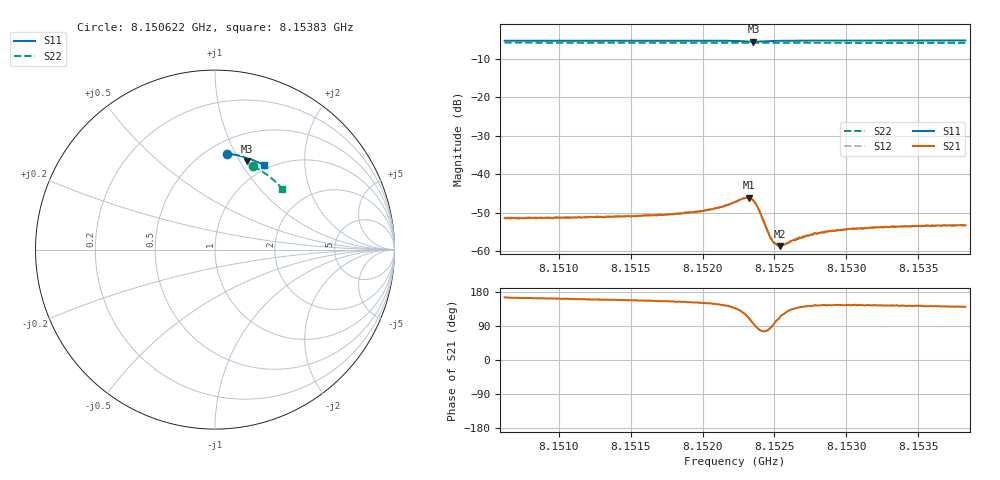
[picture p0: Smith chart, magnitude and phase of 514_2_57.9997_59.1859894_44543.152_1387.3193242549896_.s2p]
#  HZ  S  RI  R  50.00
! Rohde & Schwarz Vector Network Analyzer
! Rohde-Schwarz,ZNB20-2Port,1311601062101988,3.16
! Created: UTC 3/21/2024, 1:13:19 AM
! freq[Hz]  re:S11  im:S11  re:S21  im:S21  re:S12  im:S12  re:S22  im:S22
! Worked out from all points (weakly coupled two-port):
!   401 points, 8.150622 GHz to 8.15383 GHz, reference 50 ohm
!   highest |S21| = -46.15 dB at 8.152322 GHz (marker M1); lowest = -58.7 dB at 8.152539 GHz (marker M2)
!   lowest |S11| = -5.6 dB at 8.152354 GHz (marker M3), VSWR 3.20, Z = 39.4 + j53.5 ohm
!   |S11| at or under -10 dB: nowhere
!   |S22| runs from -5.9 to -5.9 dB; largest |S21 - S12| = 0.00012
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8.1506223e9  0.0655 0.535  -0.0026 0.000679  -0.0026 0.000719  0.2127 0.4631
8.1511595e9  0.1029 0.53  -0.00256 0.000897  -0.00261 0.00094  0.2432 0.4473
8.1516967e9  0.1401 0.522  -0.0027 0.00124  -0.00268 0.00125  0.2724 0.4291
8.1519934e9  0.1615 0.5156  -0.00288 0.00162  -0.00287 0.00165  0.2879 0.4184
8.1521297e9  0.1721 0.5111  -0.00309 0.00211  -0.00309 0.00218  0.2951 0.4129
8.1522259e9  0.1795 0.5054  -0.00314 0.00297  -0.00311 0.00303  0.2998 0.4092
8.1522821e9  0.1824 0.4993  -0.00274 0.00394  -0.00273 0.00397  0.3027 0.4068
8.1523222e9  0.1808 0.4943  -0.00174 0.00461  -0.00168 0.00469  0.3044 0.4051
8.1523542e9  0.1769 0.4928  -0.000441 0.00448  -0.000405 0.00452  0.3056 0.4041
8.1523703e9  0.175 0.4938  0.000116 0.0041  0.000151 0.00415  0.3064 0.4034
8.1523943e9  0.1734 0.4967  0.000583 0.00331  0.000615 0.00331  0.3076 0.4026
8.1524504e9  0.1767 0.5028  0.000389 0.00182  0.000431 0.00181  0.3104 0.4008
8.1524825e9  0.1798 0.5044  5.07e-05 0.0014  1.89e-05 0.0014  0.312 0.3994
8.1525066e9  0.1824 0.5049  -0.000207 0.00125  -0.000208 0.00121  0.3133 0.3984
8.1525386e9  0.1857 0.5052  -0.000449 0.00106  -0.000472 0.0011  0.3149 0.3973
8.1525787e9  0.1895 0.5049  -0.000717 0.00102  -0.000705 0.00101  0.317 0.3957
8.1526589e9  0.1961 0.5037  -0.00107 0.000972  -0.00108 0.000965  0.3209 0.3924
8.1527632e9  0.2042 0.5013  -0.00128 0.000979  -0.00131 0.001  0.3258 0.3879
8.1528754e9  0.2122 0.4985  -0.00147 0.00104  -0.00144 0.00105  0.3313 0.3831
8.1530277e9  0.2226 0.4945  -0.00158 0.00113  -0.00156 0.00113  0.3383 0.3767
8.1533004e9  0.2403 0.4867  -0.00165 0.0012  -0.00166 0.00124  0.3507 0.3645
8.1538296e9  0.2733 0.47  -0.00166 0.00137  -0.00165 0.0014  0.3734 0.34
